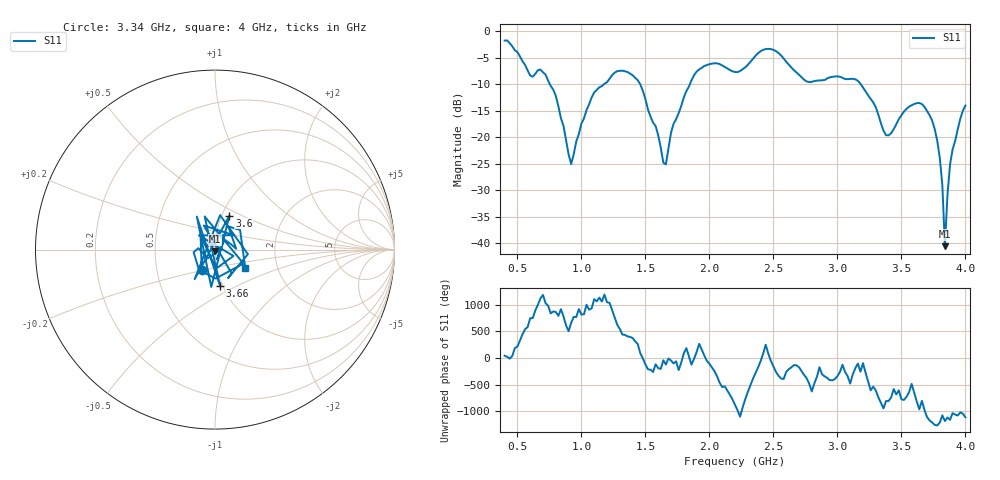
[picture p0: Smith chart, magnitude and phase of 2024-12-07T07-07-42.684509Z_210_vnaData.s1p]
!Created with skrf (http://scikit-rf.org).
# Hz S RI R 50.0
!freq ReS11 ImS11
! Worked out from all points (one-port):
!   181 points, 400 MHz to 4 GHz, reference 50 ohm
!   lowest |S11| = -40.5 dB at 3.84 GHz (marker M1), VSWR 1.02, Z = 49.8 - j0.918 ohm
!   |S11| at or under -10 dB: 753.3 MHz to 1.177 GHz (423.5 MHz wide, 43.9 % of centre); 1.459 GHz to 1.848 GHz (388.7 MHz wide, 23.5 % of centre); 3.182 GHz to end of sweep
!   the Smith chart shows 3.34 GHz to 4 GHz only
!   S11 on the Smith chart (normalised r, x): 3.34 GHz: 0.84, -0.19; 3.6 GHz: 1.09, +0.43; 3.66 GHz: 0.97, -0.41; 4 GHz: 1.37, -0.30
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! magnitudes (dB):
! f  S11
! 400 MHz  -1.8
! 600 MHz  -8.4
! 720 MHz  -8.2
! 860 MHz  -17.9
! 920 MHz  -25.0
! 1.1 GHz  -11.6
! 1.3 GHz  -7.5
! 1.46 GHz  -10.0
! 1.58 GHz  -17.9
! 1.64 GHz  -24.8
! 1.66 GHz  -25.1
! 1.76 GHz  -15.4
! 1.92 GHz  -7.2
! 2.2 GHz  -7.7
! 2.46 GHz  -3.4
! 2.66 GHz  -7.4
! 3.1 GHz  -9.0
! 3.34 GHz  -17.4
! 3.4 GHz  -19.7
! 3.56 GHz  -14.2
! 3.6 GHz  -13.7
! 3.66 GHz  -13.7
! 3.78 GHz  -20.7
! 3.82 GHz  -29.0
! 3.84 GHz  -40.5
! 3.86 GHz  -30.9
! 3.88 GHz  -25.1
! 4 GHz  -14.0
